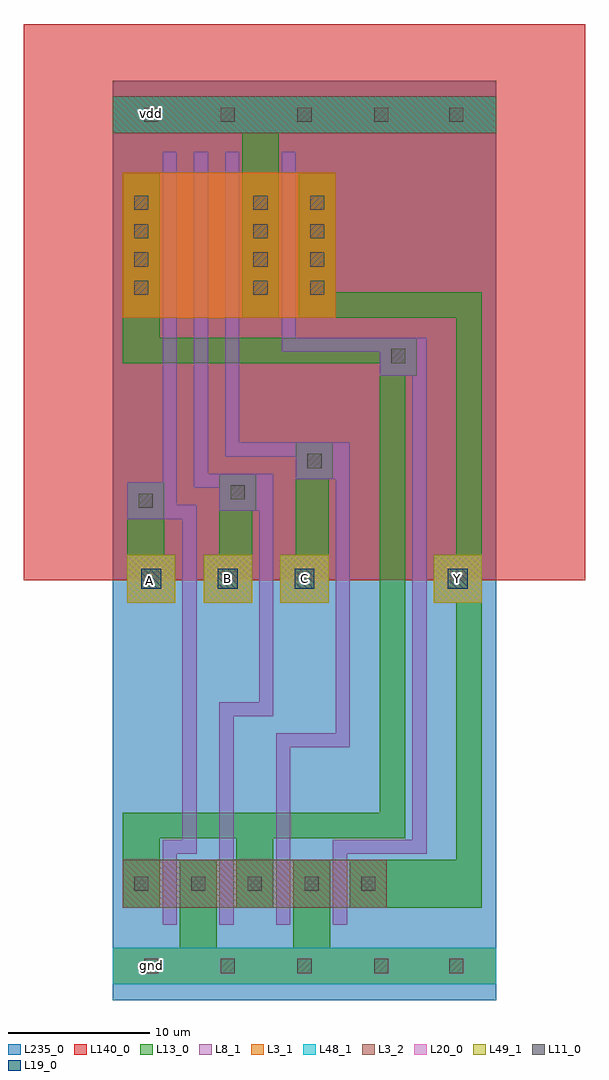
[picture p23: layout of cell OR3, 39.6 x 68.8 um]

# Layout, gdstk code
import gdstk
lib = gdstk.Library(unit=1e-6, precision=1e-09)
def R(c, l, rs):  # rectangles x0, y0, x1, y1
    for r in rs: c.add(gdstk.rectangle(r[:2], r[2:], *l))
def A(c, l, x, y, w, h, nx, ny, dx, dy):  # array of equal rectangles
    R(c, l, [(x+i*dx, y+j*dy, x+i*dx+w, y+j*dy+h) for i in range(nx) for j in range(ny)])
def P(c, l, *ps):  # polygons
    for p in ps: c.add(gdstk.Polygon(p, *l))
L3_1 = (3, 1)
L3_2 = (3, 2)
L8_1 = (8, 1)
L11_0 = (11, 0)
L13_0 = (13, 0)
L19_0 = (19, 0)
L20_0 = (20, 0)
L48_1 = (48, 1)
L49_1 = (49, 1)
L140_0 = (140, 0)
L235_0 = (235, 0)

or3 = lib.new_cell('OR3')
R(or3, L3_1, [(0,1.1,27,3.7), (0.7,48.1,15.7,58.3)])
R(or3, L3_2, [(0.7,6.5,19.3,9.9), (0,61.1,27,63.7)])
P(or3, L8_1, [(3.5,5.3),(3.5,11.3),(4.9,11.3),(4.9,33.9),(1,33.9),(1,36.5),(3.5,36.5),(3.5,59.8),(4.5,59.8),(4.5,34.9),(5.9,34.9),(5.9,10.3),(4.5,10.3),(4.5,5.3)],
  [(7.5,5.3),(7.5,21),(10.3,21),(10.3,34.5),(7.5,34.5),(7.5,36.1),(5.7,36.1),(5.7,59.8),(6.7,59.8),(6.7,37.1),(11.3,37.1),(11.3,20),(8.5,20),(8.5,5.3)],
  [(11.5,5.3),(11.5,18.8),(15.7,18.8),(15.7,36.7),(12.9,36.7),(12.9,38.3),(7.9,38.3),(7.9,59.8),(8.9,59.8),(8.9,39.3),(16.7,39.3),(16.7,17.8),(12.5,17.8),(12.5,5.3)],
  [(15.5,5.3),(15.5,11.3),(21.1,11.3),(21.1,44),(18.8,44),(18.8,45.7),(11.9,45.7),(11.9,59.8),(12.9,59.8),(12.9,46.7),(22.1,46.7),(22.1,10.3),(16.5,10.3),(16.5,5.3)])
A(or3, L11_0, 7.6, 1.9, 1, 1, 3, 2, 5.4, 60)
A(or3, L11_0, 1.5, 7.7, 1, 1, 5, 1, 4, 0)
A(or3, L11_0, 1.5, 49.7, 1, 1, 1, 4, 0, 2)
A(or3, L11_0, 9.9, 49.7, 1, 1, 1, 4, 0, 2)
A(or3, L11_0, 13.9, 49.7, 1, 1, 1, 4, 0, 2)
R(or3, L11_0, [(2.2,1.9,3.2,2.9), (7.6,1.9,8.6,2.9), (23.7,1.9,24.7,2.9), (1.8,34.7,2.8,35.7), (8.3,35.3,9.3,36.3), (13.7,37.5,14.7,38.5), (19.6,44.9,20.6,45.9), (2.2,61.9,3.2,62.9), (2.2,61.9,3.2,62.9), (7.6,61.9,8.6,62.9), (7.6,61.9,8.6,62.9), (7.6,61.9,8.6,62.9), (23.7,61.9,24.7,62.9)])
R(or3, L13_0, [(0,1.1,27,3.7), (4.7,3.7,7.3,9.9), (12.7,3.7,15.3,9.9), (1,28,4.4,31.4), (1,28,4.4,31.4), (6.4,28,9.8,31.4), (6.4,28,9.8,31.4), (11.8,28,15.2,31.4), (11.8,28,15.2,31.4), (22.6,28,26,31.4), (1,31.4,3.6,36.5), (9.1,48.1,11.7,61.1), (0,61.1,27,63.7)])
P(or3, L13_0, [(7.5,31.4),(7.5,37.1),(10.1,37.1),(10.1,34.5),(9.8,34.5),(9.8,31.4)],
  [(12.9,31.4),(12.9,39.3),(15.5,39.3),(15.5,36.7),(15.2,36.7),(15.2,31.4)],
  [(8.7,6.5),(8.7,13.2),(20.6,13.2),(20.6,11.4),(11.3,11.4),(11.3,6.5)],
  [(0.7,6.5),(0.7,13.2),(18.8,13.2),(18.8,44.9),(0.7,44.9),(0.7,58.3),(3.3,58.3),(3.3,46.7),(21.4,46.7),(21.4,44),(20.6,44),(20.6,11.4),(3.3,11.4),(3.3,6.5)],
  [(16.7,6.5),(16.7,9.9),(24.2,9.9),(24.2,28),(22.6,28),(22.6,31.4),(24.2,31.4),(24.2,48.1),(13.1,48.1),(13.1,58.3),(15.7,58.3),(15.7,49.9),(26,49.9),(26,6.5)])
A(or3, L19_0, 2, 29, 1.4, 1.4, 3, 1, 5.4, 0)
R(or3, L19_0, [(23.6,29,25,30.4)])
A(or3, L20_0, 1, 28, 3.4, 3.4, 3, 1, 5.4, 0)
R(or3, L20_0, [(22.6,28,26,31.4)])
R(or3, L48_1, [(0,1.1,27,3.7), (0,61.1,27,63.7)])
A(or3, L49_1, 1, 28, 3.4, 3.4, 3, 1, 5.4, 0)
R(or3, L49_1, [(22.6,28,26,31.4)])
R(or3, L140_0, [(-6.3,29.6,33.3,68.8)])
R(or3, L235_0, [(0,0,27,64.8)])
or3.add(gdstk.Label('Y', (24.3,29.7), layer=49, texttype=0))
or3.add(gdstk.Label('C', (13.5,29.7), layer=49, texttype=0))
or3.add(gdstk.Label('A', (2.6,29.6), layer=49, texttype=0))
or3.add(gdstk.Label('B', (8.1,29.7), layer=49, texttype=0))
or3.add(gdstk.Label('gnd', (2.7,2.4), layer=48, texttype=0))
or3.add(gdstk.Label('vdd', (2.7,62.5), layer=48, texttype=0))

lib.write_gds('OR3.gds')
